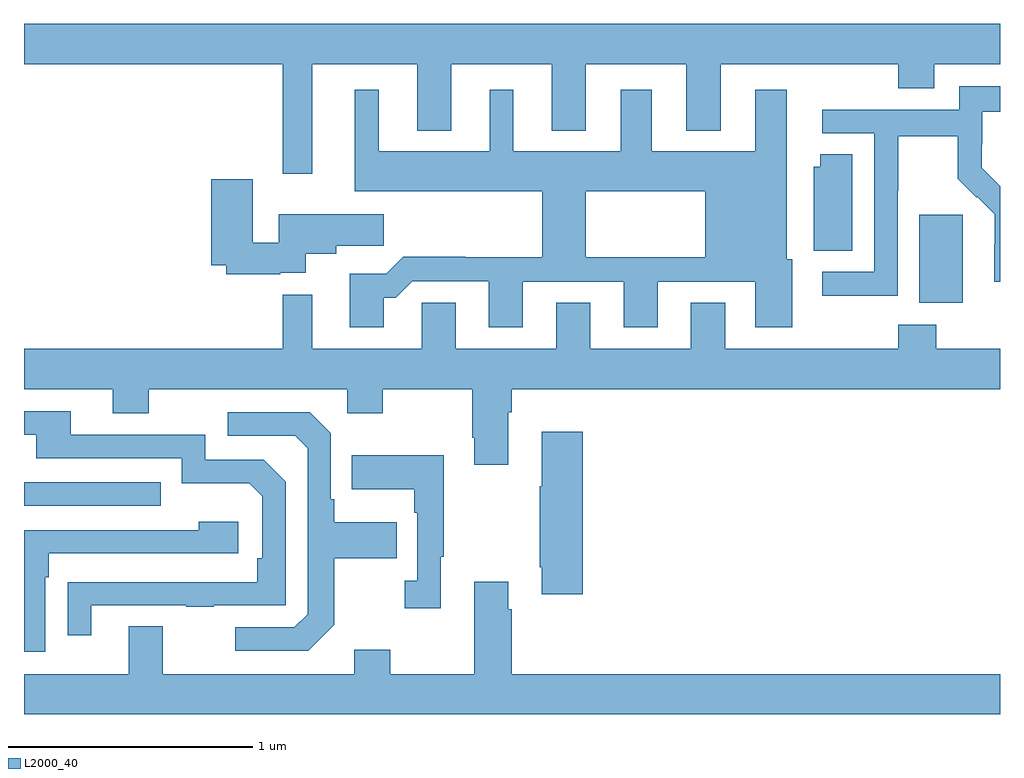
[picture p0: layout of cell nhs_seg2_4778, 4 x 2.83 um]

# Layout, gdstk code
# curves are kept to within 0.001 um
import gdstk
lib = gdstk.Library(unit=1e-6, precision=1e-09)
def R(c, l, rs):  # rectangles x0, y0, x1, y1
    for r in rs: c.add(gdstk.rectangle(r[:2], r[2:], *l))
def P(c, l, *ps):  # polygons
    for p in ps: c.add(gdstk.Polygon(p, *l))
L2000_40 = (2000, 40)

nhs_seg2_4778 = lib.new_cell('nhs_seg2_4778')
R(nhs_seg2_4778, L2000_40, [(371,643.161,371.561,643.257), (374.669,643.994,374.848,644.355)])
P(nhs_seg2_4778, L2000_40, [(372.181,644.972),(372.611,644.972),(372.611,644.699),(372.751,644.699),(372.751,644.972),(373.163,644.972),(373.163,644.699),(373.303,644.699),(373.303,644.972),(373.715,644.972),(373.715,644.699),(373.855,644.699),(373.855,644.972),(374.584,644.972),(374.584,644.873),(374.731,644.873),(374.731,644.972),(375,644.972),(375,645.136),(371,645.136),(371,644.972),(372.06,644.972),(372.06,644.523),(372.181,644.523)],
  [(374.58,644.452),(374.583,644.452),(374.583,644.676),(374.827,644.676),(374.827,644.501),(374.904,644.424),(374.907,644.427),(374.978,644.357),(374.978,644.234),(374.976,644.234),(374.976,644.08),(375,644.08),(375,644.472),(374.926,644.546),(374.926,644.643),(374.928,644.643),(374.928,644.777),(375,644.777),(375,644.881),(374.832,644.881),(374.832,644.784),(374.271,644.784),(374.271,644.688),(374.484,644.688),(374.484,644.121),(374.271,644.121),(374.271,644.023),(374.58,644.023)],
  [(372.809,644.183),(372.554,644.183),(372.484,644.113),(372.335,644.113),(372.335,643.893),(372.475,643.893),(372.475,644.015),(372.524,644.015),(372.591,644.082),(372.905,644.082),(372.905,643.893),(373.045,643.893),(373.045,644.079),(373.457,644.079),(373.457,643.893),(373.597,643.893),(373.597,644.079),(373.997,644.079),(373.997,643.893),(374.149,643.893),(374.149,644.172),(374.125,644.172),(374.125,644.866),(373.997,644.866),(373.997,644.614),(373.573,644.614),(373.573,644.866),(373.445,644.866),(373.445,644.614),(373.006,644.614),(373.006,644.866),(372.908,644.866),(372.908,644.614),(372.454,644.614),(372.454,644.866),(372.356,644.866),(372.356,644.45),(373.124,644.45),(373.124,644.18),(373.302,644.18),(373.302,644.45),(373.793,644.45),(373.793,644.18),(372.809,644.18)],
  [(374.395,644.603),(374.264,644.603),(374.264,644.55),(374.237,644.55),(374.237,644.206),(374.395,644.206)],
  [(372.05,644.117),(372.154,644.117),(372.154,644.195),(372.28,644.195),(372.28,644.227),(372.475,644.227),(372.475,644.356),(372.044,644.356),(372.044,644.24),(371.938,644.24),(371.938,644.5),(371.768,644.5),(371.768,644.147),(371.828,644.147),(371.828,644.11),(372.05,644.11)],
  [(375,643.804),(374.739,643.804),(374.739,643.903),(374.584,643.903),(374.584,643.804),(373.873,643.804),(373.873,643.994),(373.733,643.994),(373.733,643.804),(373.321,643.804),(373.321,643.994),(373.181,643.994),(373.181,643.804),(372.769,643.804),(372.769,643.994),(372.63,643.994),(372.63,643.804),(372.181,643.804),(372.181,644.026),(372.06,644.026),(372.06,643.804),(371,643.804),(371,643.64),(371.363,643.64),(371.363,643.541),(371.511,643.541),(371.511,643.64),(372.324,643.64),(372.324,643.541),(372.471,643.541),(372.471,643.64),(372.838,643.64),(372.838,643.441),(372.845,643.441),(372.845,643.329),(372.985,643.329),(372.985,643.544),(372.998,643.544),(372.998,643.64),(375,643.64)],
  [(371.275,642.753),(371.665,642.753),(371.665,642.748),(371.777,642.748),(371.777,642.753),(372.072,642.753),(372.072,643.26),(371.982,643.35),(371.742,643.35),(371.742,643.452),(371.191,643.452),(371.191,643.548),(371,643.548),(371,643.452),(371.051,643.452),(371.051,643.356),(371.646,643.356),(371.646,643.253),(371.923,643.253),(371.976,643.2),(371.976,642.946),(371.956,642.946),(371.956,642.849),(371.179,642.848),(371.179,642.63),(371.275,642.63)],
  [(372.271,642.673),(372.271,642.946),(372.527,642.946),(372.527,643.093),(372.271,643.093),(372.271,643.189),(372.258,643.189),(372.258,643.458),(372.171,643.545),(371.835,643.545),(371.835,643.449),(372.111,643.449),(372.162,643.398),(372.162,642.717),(372.108,642.663),(371.865,642.663),(371.865,642.567),(372.165,642.567)],
  [(373.289,643.465),(373.121,643.465),(373.121,643.241),(373.114,643.241),(373.114,642.91),(373.121,642.91),(373.121,642.798),(373.289,642.798)],
  [(372.709,642.953),(372.721,642.953),(372.721,643.369),(372.343,643.369),(372.343,643.229),(372.6,643.229),(372.6,643.133),(372.612,643.133),(372.612,642.854),(372.561,642.854),(372.561,642.741),(372.709,642.741)],
  [(371.088,642.869),(371.101,642.869),(371.101,642.966),(371.878,642.966),(371.878,643.096),(371.717,643.096),(371.717,643.062),(371,643.062),(371,642.564),(371.088,642.564)],
  [(375,642.472),(372.998,642.472),(372.998,642.737),(372.985,642.737),(372.985,642.85),(372.845,642.85),(372.845,642.472),(372.501,642.472),(372.501,642.571),(372.353,642.571),(372.353,642.472),(371.569,642.472),(371.569,642.667),(371.429,642.667),(371.429,642.472),(371,642.472),(371,642.308),(375,642.308)])

lib.write_gds('nhs_seg2_4778.gds')
